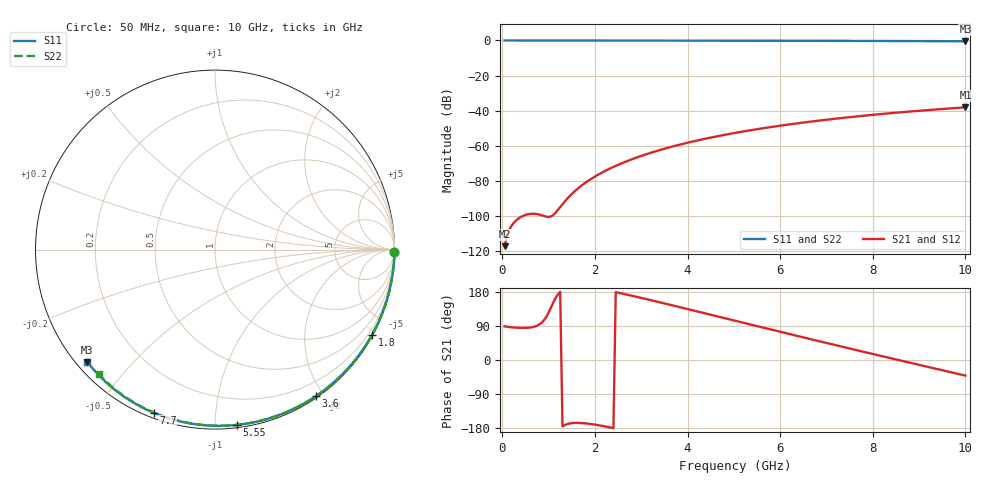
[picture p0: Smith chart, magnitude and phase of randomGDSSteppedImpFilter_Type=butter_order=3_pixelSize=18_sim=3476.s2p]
! freq	dB(S11)	phase(S11)	dB(S12)	phase(S12)
!  dB(S21)	phase(S21)	dB(S22)	phase(S22)
!S-par simulation data
#  GHz  S  DB  R 50
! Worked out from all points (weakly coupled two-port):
!   200 points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, 50 MHz to 10 GHz, reference 50 ohm
!   highest |S21| = -38.10 dB at 10 GHz (marker M1); lowest = -117.2 dB at 50 MHz (marker M2)
!   lowest |S11| = -0.5 dB at 10 GHz (marker M3), VSWR 36.93, Z = 1.55 - j18.8 ohm
!   |S11| at or under -10 dB: nowhere
!   |S22| runs from -0.4 to 0.0 dB; largest |S21 - S12| = 0
!   S11 on the Smith chart (normalised r, x): 50 MHz: open; 1.8 GHz: 0.03, -3.94; 3.6 GHz: 0.02, -1.90; 5.55 GHz: 0.02, -1.13; 7.7 GHz: 0.02, -0.69; 10 GHz: 0.03, -0.38
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0.05  -0.00 -0.8  -117.15 88.8  -117.15 88.8  -0.00 -0.8
0.45  -0.01 -7.2  -99.87 84.6  -99.87 84.6  -0.01 -6.9
0.9  -0.02 -14.4  -99.95 104.9  -99.95 104.9  -0.02 -13.8
1.75  -0.04 -27.7  -81.87 -166.6  -81.87 -166.6  -0.03 -26.5
1.8  -0.04 -28.4  -80.92 -167.2  -80.92 -167.2  -0.03 -27.3
1.85  -0.04 -29.2  -80.01 -167.9  -80.01 -167.9  -0.04 -28.0
2  -0.04 -31.5  -77.51 -170.5  -77.51 -170.5  -0.04 -30.2
2.15  -0.04 -33.8  -75.27 -173.7  -75.27 -173.7  -0.04 -32.4
2.35  -0.05 -36.9  -72.62 -178.5  -72.62 -178.5  -0.05 -35.4
2.55  -0.05 -39.9  -70.27 176.4  -70.27 176.4  -0.05 -38.3
2.95  -0.06 -46.0  -66.22 165.3  -66.22 165.3  -0.06 -44.1
3.4  -0.07 -52.6  -62.42 152.3  -62.42 152.3  -0.07 -50.5
3.6  -0.07 -55.6  -60.93 146.4  -60.93 146.4  -0.07 -53.3
4.3  -0.09 -65.6  -56.43 125.5  -56.43 125.5  -0.09 -63.0
5.05  -0.12 -76.1  -52.53 102.9  -52.53 102.9  -0.11 -73.1
5.55  -0.14 -82.9  -50.32 88.0  -50.32 88.0  -0.13 -79.6
6.1  -0.16 -90.2  -48.16 71.6  -48.16 71.6  -0.15 -86.6
6.7  -0.19 -98.0  -46.09 53.8  -46.09 53.8  -0.18 -94.2
7.7  -0.25 -110.6  -43.14 24.5  -43.14 24.5  -0.24 -106.3
8.35  -0.30 -118.7  -41.50 5.8  -41.50 5.8  -0.29 -114.0
9.2  -0.38 -129.0  -39.63 -18.5  -39.63 -18.5  -0.36 -123.9
10  -0.47 -138.7  -38.10 -41.2  -38.10 -41.2  -0.45 -133.1
